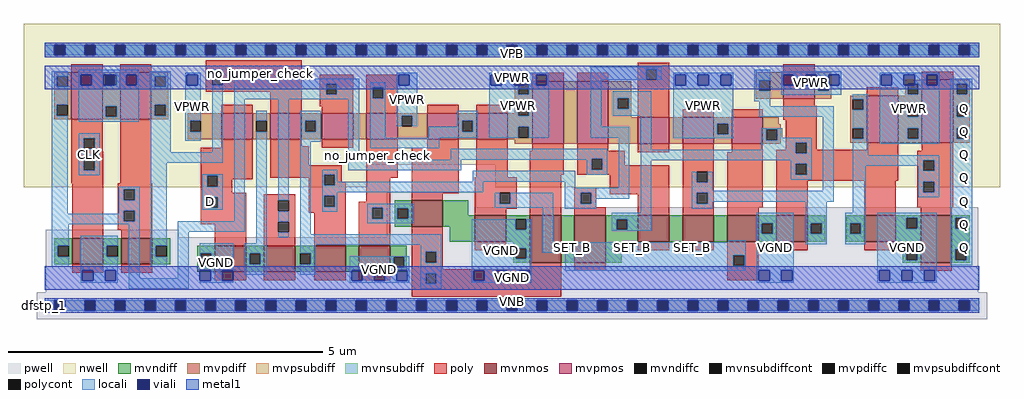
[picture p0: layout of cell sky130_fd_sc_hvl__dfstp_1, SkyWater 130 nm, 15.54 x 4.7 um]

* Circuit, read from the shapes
.subckt sky130_fd_sc_hvl__dfstp_1 CLK D SET_B VGND VNB VPB VPWR Q
XM1 VGND CLK n1 VNB sky130_fd_pr__nfet_g5v0d10v5 w=0.42 l=0.5
XM2 n2 n1 VGND VNB sky130_fd_pr__nfet_g5v0d10v5 w=0.42 l=0.5
XM3 n3 D VGND VNB sky130_fd_pr__nfet_g5v0d10v5 w=0.42 l=0.5
XM4 n4 n1 n3 VNB sky130_fd_pr__nfet_g5v0d10v5 w=0.42 l=0.5
XM5 n5 n2 n4 VNB sky130_fd_pr__nfet_g5v0d10v5 w=0.42 l=0.5
XM6 VGND n6 n5 VNB sky130_fd_pr__nfet_g5v0d10v5 w=0.42 l=0.5
XM7 n7 n4 n6 VNB sky130_fd_pr__nfet_g5v0d10v5 w=0.42 l=0.5
XM8 VGND SET_B n7 VNB sky130_fd_pr__nfet_g5v0d10v5 w=0.42 l=0.5
XM9 n8 n4 VGND VNB sky130_fd_pr__nfet_g5v0d10v5 w=0.75 l=0.5
XM10 n9 n2 n8 VNB sky130_fd_pr__nfet_g5v0d10v5 w=0.75 l=0.5
XM11 n10 n1 n9 VNB sky130_fd_pr__nfet_g5v0d10v5 w=0.42 l=0.5
XM12 n11 n12 n10 VNB sky130_fd_pr__nfet_g5v0d10v5 w=0.42 l=0.5
XM13 VGND SET_B n11 VNB sky130_fd_pr__nfet_g5v0d10v5 w=0.42 l=0.5
XM14 n12 n9 VGND VNB sky130_fd_pr__nfet_g5v0d10v5 w=0.42 l=0.5
XM15 VGND n9 n13 VNB sky130_fd_pr__nfet_g5v0d10v5 w=0.42 l=0.5
XM16 Q n13 VGND VNB sky130_fd_pr__nfet_g5v0d10v5 w=0.75 l=0.5
XM17 VPWR CLK n1 VPB sky130_fd_pr__pfet_g5v0d10v5 w=0.75 l=0.5
XM18 n2 n1 VPWR VPB sky130_fd_pr__pfet_g5v0d10v5 w=0.75 l=0.5
XM19 n3 D VPWR VPB sky130_fd_pr__pfet_g5v0d10v5 w=0.42 l=0.5
XM20 n4 n2 n3 VPB sky130_fd_pr__pfet_g5v0d10v5 w=0.42 l=0.5
XM21 n14 n1 n4 VPB sky130_fd_pr__pfet_g5v0d10v5 w=0.42 l=0.5
XM22 VPWR n6 n14 VPB sky130_fd_pr__pfet_g5v0d10v5 w=0.42 l=0.5
XM23 n6 n4 VPWR VPB sky130_fd_pr__pfet_g5v0d10v5 w=0.42 l=0.5
XM24 VPWR SET_B n6 VPB sky130_fd_pr__pfet_g5v0d10v5 w=0.42 l=0.5
XM25 n15 n4 VPWR VPB sky130_fd_pr__pfet_g5v0d10v5 w=1 l=0.5
XM26 n9 n1 n15 VPB sky130_fd_pr__pfet_g5v0d10v5 w=1 l=0.5
XM27 n16 n2 n9 VPB sky130_fd_pr__pfet_g5v0d10v5 w=0.42 l=0.5
XM28 VPWR n12 n16 VPB sky130_fd_pr__pfet_g5v0d10v5 w=0.42 l=0.5
XM29 n9 SET_B VPWR VPB sky130_fd_pr__pfet_g5v0d10v5 w=0.42 l=0.5
XM30 VPWR n9 n12 VPB sky130_fd_pr__pfet_g5v0d10v5 w=0.42 l=0.5
XM31 VPWR n9 n13 VPB sky130_fd_pr__pfet_g5v0d10v5 w=0.75 l=0.5
XM32 Q n13 VPWR VPB sky130_fd_pr__pfet_g5v0d10v5 w=1 l=0.5
.ends

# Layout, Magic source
magic
tech sky130A
magscale 1 2
<< nwell >>
rect -66 449 3042 897
rect -66 377 1029 449
rect 1434 377 3042 449
<< pwell >>
rect 1089 313 1374 361
rect 4 217 426 241
rect 1089 217 2972 313
rect 4 43 2972 217
rect -26 -43 3002 43
<< mvnmos >>
rect 87 131 187 215
rect 243 131 343 215
rect 1168 251 1268 335
rect 542 107 642 191
rect 698 107 798 191
rect 858 107 958 191
rect 1000 107 1100 191
rect 1370 203 1470 287
rect 1545 137 1645 287
rect 1687 137 1787 287
rect 1889 203 1989 287
rect 2031 203 2131 287
rect 2173 203 2273 287
rect 2329 203 2429 287
rect 2610 203 2710 287
rect 2789 137 2889 287
<< mvpmos >>
rect 84 593 184 743
rect 240 593 340 743
rect 562 529 662 613
rect 718 529 818 613
rect 882 529 982 613
rect 1024 529 1124 613
rect 1218 529 1318 613
rect 1374 529 1474 613
rect 1553 515 1653 715
rect 1695 515 1795 715
rect 2352 659 2452 743
rect 1889 515 1989 599
rect 2031 515 2131 599
rect 2187 515 2287 599
rect 2618 519 2718 669
rect 2793 519 2893 719
<< mvndiff >>
rect 30 190 87 215
rect 30 156 42 190
rect 76 156 87 190
rect 30 131 87 156
rect 187 190 243 215
rect 187 156 198 190
rect 232 156 243 190
rect 187 131 243 156
rect 343 190 400 215
rect 1115 310 1168 335
rect 1115 276 1123 310
rect 1157 276 1168 310
rect 1115 251 1168 276
rect 1268 287 1348 335
rect 1268 251 1370 287
rect 343 156 354 190
rect 388 156 400 190
rect 343 131 400 156
rect 485 166 542 191
rect 485 132 497 166
rect 531 132 542 166
rect 485 107 542 132
rect 642 166 698 191
rect 642 132 653 166
rect 687 132 698 166
rect 642 107 698 132
rect 798 166 858 191
rect 798 132 813 166
rect 847 132 858 166
rect 798 107 858 132
rect 958 107 1000 191
rect 1100 155 1153 191
rect 1100 121 1111 155
rect 1145 121 1153 155
rect 1100 107 1153 121
rect 1290 203 1370 251
rect 1470 275 1545 287
rect 1470 241 1500 275
rect 1534 241 1545 275
rect 1470 203 1545 241
rect 1492 183 1545 203
rect 1492 149 1500 183
rect 1534 149 1545 183
rect 1492 137 1545 149
rect 1645 137 1687 287
rect 1787 275 1889 287
rect 1787 241 1821 275
rect 1855 241 1889 275
rect 1787 203 1889 241
rect 1989 203 2031 287
rect 2131 203 2173 287
rect 2273 262 2329 287
rect 2273 228 2284 262
rect 2318 228 2329 262
rect 2273 203 2329 228
rect 2429 262 2486 287
rect 2429 228 2440 262
rect 2474 228 2486 262
rect 2429 203 2486 228
rect 2553 262 2610 287
rect 2553 228 2565 262
rect 2599 228 2610 262
rect 2553 203 2610 228
rect 2710 279 2789 287
rect 2710 245 2744 279
rect 2778 245 2789 279
rect 2710 203 2789 245
rect 1787 137 1837 203
rect 2732 179 2789 203
rect 2732 145 2744 179
rect 2778 145 2789 179
rect 2732 137 2789 145
rect 2889 279 2946 287
rect 2889 245 2900 279
rect 2934 245 2946 279
rect 2889 179 2946 245
rect 2889 145 2900 179
rect 2934 145 2946 179
rect 2889 137 2946 145
<< mvpdiff >>
rect 31 731 84 743
rect 31 697 39 731
rect 73 697 84 731
rect 31 639 84 697
rect 31 605 39 639
rect 73 605 84 639
rect 31 593 84 605
rect 184 735 240 743
rect 184 701 195 735
rect 229 701 240 735
rect 184 635 240 701
rect 184 601 195 635
rect 229 601 240 635
rect 184 593 240 601
rect 340 731 393 743
rect 340 697 351 731
rect 385 697 393 731
rect 340 639 393 697
rect 340 605 351 639
rect 385 605 393 639
rect 1496 707 1553 715
rect 1496 673 1508 707
rect 1542 673 1553 707
rect 1496 638 1553 673
rect 1496 613 1508 638
rect 340 593 393 605
rect 455 588 562 613
rect 455 554 463 588
rect 497 554 562 588
rect 455 529 562 554
rect 662 588 718 613
rect 662 554 673 588
rect 707 554 718 588
rect 662 529 718 554
rect 818 588 882 613
rect 818 554 829 588
rect 863 554 882 588
rect 818 529 882 554
rect 982 529 1024 613
rect 1124 605 1218 613
rect 1124 571 1137 605
rect 1171 571 1218 605
rect 1124 529 1218 571
rect 1318 588 1374 613
rect 1318 554 1329 588
rect 1363 554 1374 588
rect 1318 529 1374 554
rect 1474 604 1508 613
rect 1542 604 1553 638
rect 1474 569 1553 604
rect 1474 535 1508 569
rect 1542 535 1553 569
rect 1474 529 1553 535
rect 1496 515 1553 529
rect 1653 515 1695 715
rect 1795 661 1867 715
rect 1795 627 1825 661
rect 1859 627 1867 661
rect 1795 599 1867 627
rect 2264 718 2352 743
rect 2264 684 2276 718
rect 2310 684 2352 718
rect 2264 659 2352 684
rect 2452 718 2505 743
rect 2452 684 2463 718
rect 2497 684 2505 718
rect 2740 707 2793 719
rect 2452 659 2505 684
rect 2740 673 2748 707
rect 2782 673 2793 707
rect 2740 669 2793 673
rect 2565 657 2618 669
rect 1795 515 1889 599
rect 1989 515 2031 599
rect 2131 579 2187 599
rect 2131 545 2142 579
rect 2176 545 2187 579
rect 2131 515 2187 545
rect 2287 577 2337 599
rect 2287 561 2344 577
rect 2287 527 2298 561
rect 2332 527 2344 561
rect 2287 515 2344 527
rect 2565 623 2573 657
rect 2607 623 2618 657
rect 2565 565 2618 623
rect 2565 531 2573 565
rect 2607 531 2618 565
rect 2565 519 2618 531
rect 2718 636 2793 669
rect 2718 602 2748 636
rect 2782 602 2793 636
rect 2718 565 2793 602
rect 2718 531 2748 565
rect 2782 531 2793 565
rect 2718 519 2793 531
rect 2893 707 2946 719
rect 2893 673 2904 707
rect 2938 673 2946 707
rect 2893 636 2946 673
rect 2893 602 2904 636
rect 2938 602 2946 636
rect 2893 565 2946 602
rect 2893 531 2904 565
rect 2938 531 2946 565
rect 2893 519 2946 531
<< mvndiffc >>
rect 42 156 76 190
rect 198 156 232 190
rect 1123 276 1157 310
rect 354 156 388 190
rect 497 132 531 166
rect 653 132 687 166
rect 813 132 847 166
rect 1111 121 1145 155
rect 1500 241 1534 275
rect 1500 149 1534 183
rect 1821 241 1855 275
rect 2284 228 2318 262
rect 2440 228 2474 262
rect 2565 228 2599 262
rect 2744 245 2778 279
rect 2744 145 2778 179
rect 2900 245 2934 279
rect 2900 145 2934 179
<< mvpdiffc >>
rect 39 697 73 731
rect 39 605 73 639
rect 195 701 229 735
rect 195 601 229 635
rect 351 697 385 731
rect 351 605 385 639
rect 1508 673 1542 707
rect 463 554 497 588
rect 673 554 707 588
rect 829 554 863 588
rect 1137 571 1171 605
rect 1329 554 1363 588
rect 1508 604 1542 638
rect 1508 535 1542 569
rect 1825 627 1859 661
rect 2276 684 2310 718
rect 2463 684 2497 718
rect 2748 673 2782 707
rect 2142 545 2176 579
rect 2298 527 2332 561
rect 2573 623 2607 657
rect 2573 531 2607 565
rect 2748 602 2782 636
rect 2748 531 2782 565
rect 2904 673 2938 707
rect 2904 602 2938 636
rect 2904 531 2938 565
<< mvpsubdiff >>
rect 0 -17 31 17
rect 65 -17 127 17
rect 161 -17 223 17
rect 257 -17 319 17
rect 353 -17 415 17
rect 449 -17 511 17
rect 545 -17 607 17
rect 641 -17 703 17
rect 737 -17 799 17
rect 833 -17 895 17
rect 929 -17 991 17
rect 1025 -17 1087 17
rect 1121 -17 1183 17
rect 1217 -17 1279 17
rect 1313 -17 1375 17
rect 1409 -17 1471 17
rect 1505 -17 1567 17
rect 1601 -17 1663 17
rect 1697 -17 1759 17
rect 1793 -17 1855 17
rect 1889 -17 1951 17
rect 1985 -17 2047 17
rect 2081 -17 2143 17
rect 2177 -17 2239 17
rect 2273 -17 2335 17
rect 2369 -17 2431 17
rect 2465 -17 2527 17
rect 2561 -17 2623 17
rect 2657 -17 2719 17
rect 2753 -17 2815 17
rect 2849 -17 2911 17
rect 2945 -17 2976 17
<< mvnsubdiff >>
rect 0 797 31 831
rect 65 797 127 831
rect 161 797 223 831
rect 257 797 319 831
rect 353 797 415 831
rect 449 797 511 831
rect 545 797 607 831
rect 641 797 703 831
rect 737 797 799 831
rect 833 797 895 831
rect 929 797 991 831
rect 1025 797 1087 831
rect 1121 797 1183 831
rect 1217 797 1279 831
rect 1313 797 1375 831
rect 1409 797 1471 831
rect 1505 797 1567 831
rect 1601 797 1663 831
rect 1697 797 1759 831
rect 1793 797 1855 831
rect 1889 797 1951 831
rect 1985 797 2047 831
rect 2081 797 2143 831
rect 2177 797 2239 831
rect 2273 797 2335 831
rect 2369 797 2431 831
rect 2465 797 2527 831
rect 2561 797 2623 831
rect 2657 797 2719 831
rect 2753 797 2815 831
rect 2849 797 2911 831
rect 2945 797 2976 831
<< mvpsubdiffcont >>
rect 31 -17 65 17
rect 127 -17 161 17
rect 223 -17 257 17
rect 319 -17 353 17
rect 415 -17 449 17
rect 511 -17 545 17
rect 607 -17 641 17
rect 703 -17 737 17
rect 799 -17 833 17
rect 895 -17 929 17
rect 991 -17 1025 17
rect 1087 -17 1121 17
rect 1183 -17 1217 17
rect 1279 -17 1313 17
rect 1375 -17 1409 17
rect 1471 -17 1505 17
rect 1567 -17 1601 17
rect 1663 -17 1697 17
rect 1759 -17 1793 17
rect 1855 -17 1889 17
rect 1951 -17 1985 17
rect 2047 -17 2081 17
rect 2143 -17 2177 17
rect 2239 -17 2273 17
rect 2335 -17 2369 17
rect 2431 -17 2465 17
rect 2527 -17 2561 17
rect 2623 -17 2657 17
rect 2719 -17 2753 17
rect 2815 -17 2849 17
rect 2911 -17 2945 17
<< mvnsubdiffcont >>
rect 31 797 65 831
rect 127 797 161 831
rect 223 797 257 831
rect 319 797 353 831
rect 415 797 449 831
rect 511 797 545 831
rect 607 797 641 831
rect 703 797 737 831
rect 799 797 833 831
rect 895 797 929 831
rect 991 797 1025 831
rect 1087 797 1121 831
rect 1183 797 1217 831
rect 1279 797 1313 831
rect 1375 797 1409 831
rect 1471 797 1505 831
rect 1567 797 1601 831
rect 1663 797 1697 831
rect 1759 797 1793 831
rect 1855 797 1889 831
rect 1951 797 1985 831
rect 2047 797 2081 831
rect 2143 797 2177 831
rect 2239 797 2273 831
rect 2335 797 2369 831
rect 2431 797 2465 831
rect 2527 797 2561 831
rect 2623 797 2657 831
rect 2719 797 2753 831
rect 2815 797 2849 831
rect 2911 797 2945 831
<< poly >>
rect 84 743 184 769
rect 240 743 340 769
rect 513 735 818 781
rect 1889 753 1989 773
rect 513 701 533 735
rect 567 701 818 735
rect 513 681 818 701
rect 562 613 662 639
rect 718 613 818 681
rect 876 707 982 735
rect 876 673 896 707
rect 930 673 982 707
rect 876 635 982 673
rect 882 613 982 635
rect 1024 695 1124 735
rect 1553 715 1653 741
rect 1695 715 1795 741
rect 1889 719 1915 753
rect 1949 719 1989 753
rect 2352 743 2452 769
rect 1024 661 1044 695
rect 1078 661 1124 695
rect 1024 613 1124 661
rect 1218 613 1318 639
rect 1374 613 1474 639
rect 84 533 184 593
rect 84 499 125 533
rect 159 499 184 533
rect 84 490 184 499
rect 84 465 187 490
rect 84 431 125 465
rect 159 431 187 465
rect 84 390 187 431
rect 240 390 340 593
rect 562 503 662 529
rect 497 413 662 503
rect 87 215 187 390
rect 232 370 343 390
rect 232 336 252 370
rect 286 336 343 370
rect 232 302 343 336
rect 232 268 252 302
rect 286 268 343 302
rect 232 241 343 268
rect 497 379 517 413
rect 551 403 662 413
rect 718 507 818 529
rect 718 447 840 507
rect 882 503 982 529
rect 718 417 946 447
rect 718 407 890 417
rect 551 379 597 403
rect 497 359 597 379
rect 840 383 890 407
rect 924 395 946 417
rect 1024 407 1124 529
rect 1218 503 1318 529
rect 924 383 958 395
rect 497 345 642 359
rect 497 311 517 345
rect 551 311 642 345
rect 497 259 642 311
rect 243 215 343 241
rect 542 191 642 259
rect 698 335 798 355
rect 698 301 743 335
rect 777 301 798 335
rect 698 267 798 301
rect 840 349 958 383
rect 840 315 890 349
rect 924 315 958 349
rect 1024 331 1100 407
rect 1168 357 1318 503
rect 1374 409 1474 529
rect 1889 599 1989 719
rect 2793 719 2893 745
rect 2618 669 2718 695
rect 2352 637 2452 659
rect 2031 599 2131 625
rect 2187 599 2287 625
rect 2352 592 2459 637
rect 2359 519 2459 592
rect 1553 493 1653 515
rect 1545 417 1653 493
rect 1695 493 1795 515
rect 1695 467 1847 493
rect 1889 489 1989 515
rect 1695 433 1742 467
rect 1776 447 1847 467
rect 1776 433 1989 447
rect 1695 417 1989 433
rect 1370 359 1503 409
rect 1168 335 1268 357
rect 840 295 958 315
rect 698 233 743 267
rect 777 233 798 267
rect 698 191 798 233
rect 858 191 958 295
rect 1000 311 1100 331
rect 1000 277 1043 311
rect 1077 277 1100 311
rect 1000 191 1100 277
rect 1370 325 1449 359
rect 1483 325 1503 359
rect 1370 309 1503 325
rect 1370 287 1470 309
rect 1545 287 1645 417
rect 1687 359 1757 375
rect 1687 325 1707 359
rect 1741 325 1757 359
rect 1799 355 1989 417
rect 1687 313 1757 325
rect 1687 287 1787 313
rect 1889 287 1989 355
rect 2031 427 2131 515
rect 2187 489 2287 515
rect 2359 497 2392 519
rect 2031 393 2077 427
rect 2111 393 2131 427
rect 2031 359 2131 393
rect 2031 325 2077 359
rect 2111 325 2131 359
rect 2031 287 2131 325
rect 2173 313 2287 489
rect 2329 485 2392 497
rect 2426 497 2459 519
rect 2618 497 2718 519
rect 2426 485 2718 497
rect 2793 493 2893 519
rect 2329 451 2718 485
rect 2329 417 2392 451
rect 2426 417 2718 451
rect 2329 397 2718 417
rect 2778 463 2893 493
rect 2778 429 2798 463
rect 2832 429 2893 463
rect 2173 287 2273 313
rect 2329 287 2429 397
rect 2610 287 2710 397
rect 2778 395 2893 429
rect 2778 361 2798 395
rect 2832 361 2893 395
rect 2778 313 2893 361
rect 2789 287 2889 313
rect 87 105 187 131
rect 243 105 343 131
rect 1168 171 1268 251
rect 1370 177 1470 203
rect 1168 137 1213 171
rect 1247 137 1268 171
rect 1889 177 1989 203
rect 2031 177 2131 203
rect 2173 161 2273 203
rect 2329 177 2429 203
rect 2610 177 2710 203
rect 1168 115 1268 137
rect 1545 115 1645 137
rect 542 81 642 107
rect 698 81 798 107
rect 858 81 958 107
rect 1000 81 1100 107
rect 1168 103 1645 115
rect 1687 111 1787 137
rect 2173 127 2193 161
rect 2227 127 2273 161
rect 1168 69 1213 103
rect 1247 69 1645 103
rect 2173 81 2273 127
rect 2789 111 2889 137
rect 1168 28 1645 69
<< polycont >>
rect 533 701 567 735
rect 896 673 930 707
rect 1915 719 1949 753
rect 1044 661 1078 695
rect 125 499 159 533
rect 125 431 159 465
rect 252 336 286 370
rect 252 268 286 302
rect 517 379 551 413
rect 890 383 924 417
rect 517 311 551 345
rect 743 301 777 335
rect 890 315 924 349
rect 1742 433 1776 467
rect 743 233 777 267
rect 1043 277 1077 311
rect 1449 325 1483 359
rect 1707 325 1741 359
rect 2077 393 2111 427
rect 2077 325 2111 359
rect 2392 485 2426 519
rect 2392 417 2426 451
rect 2798 429 2832 463
rect 2798 361 2832 395
rect 1213 137 1247 171
rect 2193 127 2227 161
rect 1213 69 1247 103
<< locali >>
rect 0 797 31 831
rect 65 797 127 831
rect 161 797 223 831
rect 257 797 319 831
rect 353 797 415 831
rect 449 797 511 831
rect 545 797 607 831
rect 641 797 703 831
rect 737 797 799 831
rect 833 797 895 831
rect 929 797 991 831
rect 1025 797 1087 831
rect 1121 797 1183 831
rect 1217 797 1279 831
rect 1313 797 1375 831
rect 1409 797 1471 831
rect 1505 797 1567 831
rect 1601 797 1663 831
rect 1697 797 1759 831
rect 1793 797 1855 831
rect 1889 797 1951 831
rect 1985 797 2047 831
rect 2081 797 2143 831
rect 2177 797 2239 831
rect 2273 797 2335 831
rect 2369 797 2431 831
rect 2465 797 2527 831
rect 2561 797 2623 831
rect 2657 797 2719 831
rect 2753 797 2815 831
rect 2849 797 2911 831
rect 2945 797 2976 831
rect 1739 753 1965 761
rect 23 731 73 747
rect 23 697 39 731
rect 23 639 73 697
rect 23 605 39 639
rect 23 293 73 605
rect 109 735 299 751
rect 109 701 115 735
rect 149 701 187 735
rect 229 701 259 735
rect 293 701 299 735
rect 109 635 299 701
rect 109 601 195 635
rect 229 601 299 635
rect 109 585 299 601
rect 335 731 401 747
rect 335 697 351 731
rect 385 697 401 731
rect 335 639 401 697
rect 335 605 351 639
rect 385 605 401 639
rect 335 589 401 605
rect 109 533 175 549
rect 109 499 125 533
rect 159 499 175 533
rect 109 465 175 499
rect 109 431 125 465
rect 159 431 175 465
rect 109 415 175 431
rect 338 489 401 589
rect 447 735 497 741
rect 447 701 453 735
rect 487 701 497 735
rect 447 588 497 701
rect 447 554 463 588
rect 447 525 497 554
rect 533 735 567 751
rect 1121 735 1187 741
rect 533 489 567 701
rect 338 455 567 489
rect 603 707 1001 723
rect 603 673 896 707
rect 930 673 1001 707
rect 603 657 1001 673
rect 236 370 302 379
rect 236 336 252 370
rect 286 336 302 370
rect 236 302 302 336
rect 236 293 252 302
rect 23 268 252 293
rect 286 268 302 302
rect 23 259 302 268
rect 23 190 76 259
rect 23 156 42 190
rect 23 123 76 156
rect 114 190 232 223
rect 114 156 198 190
rect 114 113 232 156
rect 114 79 120 113
rect 154 79 192 113
rect 226 79 232 113
rect 114 73 232 79
rect 268 87 302 259
rect 338 190 388 455
rect 501 413 567 419
rect 501 379 517 413
rect 551 379 567 413
rect 501 345 567 379
rect 501 311 517 345
rect 551 311 567 345
rect 501 305 567 311
rect 603 269 637 657
rect 338 156 354 190
rect 338 123 388 156
rect 424 235 637 269
rect 673 588 707 621
rect 424 87 458 235
rect 673 199 707 554
rect 743 335 777 657
rect 743 267 777 301
rect 743 217 777 233
rect 813 588 879 621
rect 813 554 829 588
rect 863 554 879 588
rect 813 521 879 554
rect 813 227 847 521
rect 967 465 1001 657
rect 1037 695 1085 711
rect 1037 661 1044 695
rect 1078 661 1085 695
rect 1037 535 1085 661
rect 1121 701 1127 735
rect 1161 701 1187 735
rect 1121 605 1187 701
rect 1415 735 1605 741
rect 1415 701 1421 735
rect 1455 701 1493 735
rect 1527 707 1565 735
rect 1542 701 1565 707
rect 1599 701 1605 735
rect 1415 673 1508 701
rect 1542 673 1605 701
rect 1415 638 1605 673
rect 1121 571 1137 605
rect 1171 571 1187 605
rect 1313 588 1379 621
rect 1313 569 1329 588
rect 1223 554 1329 569
rect 1363 554 1379 588
rect 1223 535 1379 554
rect 1415 604 1508 638
rect 1542 604 1605 638
rect 1415 569 1605 604
rect 1415 535 1508 569
rect 1542 535 1605 569
rect 1739 719 1915 753
rect 1949 719 1965 753
rect 2002 735 2192 741
rect 1739 569 1773 719
rect 2002 701 2008 735
rect 2042 701 2080 735
rect 2114 701 2152 735
rect 2186 701 2192 735
rect 1809 661 1932 683
rect 1809 627 1825 661
rect 1859 627 1932 661
rect 1809 605 1932 627
rect 1739 535 1862 569
rect 1037 501 1257 535
rect 1293 467 1792 499
rect 1293 465 1742 467
rect 883 417 931 433
rect 967 431 1327 465
rect 1726 433 1742 465
rect 1776 433 1792 467
rect 883 383 890 417
rect 924 395 931 417
rect 1363 395 1690 429
rect 1726 417 1792 433
rect 924 383 1397 395
rect 883 361 1397 383
rect 1656 375 1690 395
rect 1828 375 1862 535
rect 883 349 931 361
rect 1656 359 1862 375
rect 883 315 890 349
rect 924 315 931 349
rect 1433 325 1449 359
rect 1483 325 1620 359
rect 883 299 931 315
rect 1027 311 1173 325
rect 1433 311 1620 325
rect 1027 277 1043 311
rect 1077 310 1173 311
rect 1077 277 1123 310
rect 1027 276 1123 277
rect 1157 276 1173 310
rect 1027 263 1173 276
rect 1360 241 1500 275
rect 1534 241 1550 275
rect 268 53 458 87
rect 494 166 601 199
rect 494 132 497 166
rect 531 132 601 166
rect 494 113 601 132
rect 528 79 566 113
rect 600 79 601 113
rect 637 166 707 199
rect 637 132 653 166
rect 687 132 707 166
rect 637 99 707 132
rect 813 193 1263 227
rect 813 166 863 193
rect 847 132 863 166
rect 1197 171 1263 193
rect 813 99 863 132
rect 971 155 1161 157
rect 971 121 1111 155
rect 1145 121 1161 155
rect 971 113 1161 121
rect 494 73 601 79
rect 971 79 977 113
rect 1011 79 1049 113
rect 1083 79 1121 113
rect 1155 79 1161 113
rect 971 73 1161 79
rect 1197 137 1213 171
rect 1247 137 1263 171
rect 1197 103 1263 137
rect 1197 69 1213 103
rect 1247 69 1263 103
rect 1360 183 1550 241
rect 1360 149 1500 183
rect 1534 149 1550 183
rect 1586 202 1620 311
rect 1656 325 1707 359
rect 1741 341 1862 359
rect 1898 497 1932 605
rect 2002 579 2192 701
rect 2260 718 2310 751
rect 2260 684 2276 718
rect 2260 651 2310 684
rect 2346 735 2536 747
rect 2346 701 2352 735
rect 2386 701 2424 735
rect 2458 718 2496 735
rect 2458 701 2463 718
rect 2530 701 2536 735
rect 2346 684 2463 701
rect 2497 684 2536 701
rect 2346 671 2536 684
rect 2659 735 2848 741
rect 2659 701 2664 735
rect 2698 701 2736 735
rect 2770 707 2808 735
rect 2782 701 2808 707
rect 2842 701 2848 735
rect 2659 673 2748 701
rect 2782 673 2848 701
rect 2276 635 2310 651
rect 2573 657 2623 673
rect 2276 601 2512 635
rect 2002 545 2142 579
rect 2176 545 2192 579
rect 2002 533 2192 545
rect 2282 561 2348 565
rect 2282 527 2298 561
rect 2332 535 2348 561
rect 2332 527 2442 535
rect 2282 519 2442 527
rect 2282 497 2392 519
rect 1898 485 2392 497
rect 2426 485 2442 519
rect 1898 463 2442 485
rect 1741 325 1757 341
rect 1656 309 1757 325
rect 1898 295 1932 463
rect 2376 451 2442 463
rect 2061 393 2077 427
rect 2111 393 2127 427
rect 2376 417 2392 451
rect 2426 417 2442 451
rect 2376 401 2442 417
rect 2061 365 2127 393
rect 2478 365 2512 601
rect 2061 359 2512 365
rect 2061 325 2077 359
rect 2111 331 2512 359
rect 2607 623 2623 657
rect 2573 565 2623 623
rect 2607 531 2623 565
rect 2573 479 2623 531
rect 2659 636 2848 673
rect 2659 602 2748 636
rect 2782 602 2848 636
rect 2659 565 2848 602
rect 2659 531 2748 565
rect 2782 531 2848 565
rect 2659 515 2848 531
rect 2884 707 2954 723
rect 2884 673 2904 707
rect 2938 673 2954 707
rect 2884 636 2954 673
rect 2884 602 2904 636
rect 2938 602 2954 636
rect 2884 565 2954 602
rect 2884 531 2904 565
rect 2938 531 2954 565
rect 2573 463 2848 479
rect 2573 445 2798 463
rect 2111 325 2127 331
rect 2061 309 2127 325
rect 1805 275 1932 295
rect 1805 241 1821 275
rect 1855 241 1932 275
rect 1805 238 1932 241
rect 2268 262 2386 295
rect 2268 228 2284 262
rect 2318 228 2386 262
rect 2177 202 2232 208
rect 1586 168 2232 202
rect 1360 113 1550 149
rect 1360 79 1366 113
rect 1400 79 1438 113
rect 1472 79 1510 113
rect 1544 79 1550 113
rect 1657 161 2232 168
rect 1657 127 2193 161
rect 2227 127 2232 161
rect 1657 111 2232 127
rect 2268 113 2386 228
rect 2424 262 2490 331
rect 2573 295 2615 445
rect 2782 429 2798 445
rect 2832 429 2848 463
rect 2782 395 2848 429
rect 2782 361 2798 395
rect 2832 361 2848 395
rect 2782 345 2848 361
rect 2424 228 2440 262
rect 2474 228 2490 262
rect 2424 195 2490 228
rect 2549 262 2615 295
rect 2549 228 2565 262
rect 2599 228 2615 262
rect 2549 195 2615 228
rect 2651 279 2841 295
rect 2651 245 2744 279
rect 2778 245 2841 279
rect 1360 73 1550 79
rect 2268 79 2274 113
rect 2308 79 2346 113
rect 2380 79 2386 113
rect 2268 73 2386 79
rect 2651 179 2841 245
rect 2651 145 2744 179
rect 2778 145 2841 179
rect 2651 113 2841 145
rect 2884 279 2954 531
rect 2884 245 2900 279
rect 2934 245 2954 279
rect 2884 179 2954 245
rect 2884 145 2900 179
rect 2934 145 2954 179
rect 2884 129 2954 145
rect 2651 79 2657 113
rect 2691 79 2729 113
rect 2763 79 2801 113
rect 2835 79 2841 113
rect 2651 73 2841 79
rect 1197 53 1263 69
rect 0 -17 31 17
rect 65 -17 127 17
rect 161 -17 223 17
rect 257 -17 319 17
rect 353 -17 415 17
rect 449 -17 511 17
rect 545 -17 607 17
rect 641 -17 703 17
rect 737 -17 799 17
rect 833 -17 895 17
rect 929 -17 991 17
rect 1025 -17 1087 17
rect 1121 -17 1183 17
rect 1217 -17 1279 17
rect 1313 -17 1375 17
rect 1409 -17 1471 17
rect 1505 -17 1567 17
rect 1601 -17 1663 17
rect 1697 -17 1759 17
rect 1793 -17 1855 17
rect 1889 -17 1951 17
rect 1985 -17 2047 17
rect 2081 -17 2143 17
rect 2177 -17 2239 17
rect 2273 -17 2335 17
rect 2369 -17 2431 17
rect 2465 -17 2527 17
rect 2561 -17 2623 17
rect 2657 -17 2719 17
rect 2753 -17 2815 17
rect 2849 -17 2911 17
rect 2945 -17 2976 17
<< viali >>
rect 31 797 65 831
rect 127 797 161 831
rect 223 797 257 831
rect 319 797 353 831
rect 415 797 449 831
rect 511 797 545 831
rect 607 797 641 831
rect 703 797 737 831
rect 799 797 833 831
rect 895 797 929 831
rect 991 797 1025 831
rect 1087 797 1121 831
rect 1183 797 1217 831
rect 1279 797 1313 831
rect 1375 797 1409 831
rect 1471 797 1505 831
rect 1567 797 1601 831
rect 1663 797 1697 831
rect 1759 797 1793 831
rect 1855 797 1889 831
rect 1951 797 1985 831
rect 2047 797 2081 831
rect 2143 797 2177 831
rect 2239 797 2273 831
rect 2335 797 2369 831
rect 2431 797 2465 831
rect 2527 797 2561 831
rect 2623 797 2657 831
rect 2719 797 2753 831
rect 2815 797 2849 831
rect 2911 797 2945 831
rect 115 701 149 735
rect 187 701 195 735
rect 195 701 221 735
rect 259 701 293 735
rect 453 701 487 735
rect 120 79 154 113
rect 192 79 226 113
rect 1127 701 1161 735
rect 1421 701 1455 735
rect 1493 707 1527 735
rect 1493 701 1508 707
rect 1508 701 1527 707
rect 1565 701 1599 735
rect 2008 701 2042 735
rect 2080 701 2114 735
rect 2152 701 2186 735
rect 494 79 528 113
rect 566 79 600 113
rect 977 79 1011 113
rect 1049 79 1083 113
rect 1121 79 1155 113
rect 2352 701 2386 735
rect 2424 701 2458 735
rect 2496 718 2530 735
rect 2496 701 2497 718
rect 2497 701 2530 718
rect 2664 701 2698 735
rect 2736 707 2770 735
rect 2736 701 2748 707
rect 2748 701 2770 707
rect 2808 701 2842 735
rect 1366 79 1400 113
rect 1438 79 1472 113
rect 1510 79 1544 113
rect 2274 79 2308 113
rect 2346 79 2380 113
rect 2657 79 2691 113
rect 2729 79 2763 113
rect 2801 79 2835 113
rect 31 -17 65 17
rect 127 -17 161 17
rect 223 -17 257 17
rect 319 -17 353 17
rect 415 -17 449 17
rect 511 -17 545 17
rect 607 -17 641 17
rect 703 -17 737 17
rect 799 -17 833 17
rect 895 -17 929 17
rect 991 -17 1025 17
rect 1087 -17 1121 17
rect 1183 -17 1217 17
rect 1279 -17 1313 17
rect 1375 -17 1409 17
rect 1471 -17 1505 17
rect 1567 -17 1601 17
rect 1663 -17 1697 17
rect 1759 -17 1793 17
rect 1855 -17 1889 17
rect 1951 -17 1985 17
rect 2047 -17 2081 17
rect 2143 -17 2177 17
rect 2239 -17 2273 17
rect 2335 -17 2369 17
rect 2431 -17 2465 17
rect 2527 -17 2561 17
rect 2623 -17 2657 17
rect 2719 -17 2753 17
rect 2815 -17 2849 17
rect 2911 -17 2945 17
<< metal1 >>
rect 0 831 2976 837
rect 0 797 31 831
rect 65 797 127 831
rect 161 797 223 831
rect 257 797 319 831
rect 353 797 415 831
rect 449 797 511 831
rect 545 797 607 831
rect 641 797 703 831
rect 737 797 799 831
rect 833 797 895 831
rect 929 797 991 831
rect 1025 797 1087 831
rect 1121 797 1183 831
rect 1217 797 1279 831
rect 1313 797 1375 831
rect 1409 797 1471 831
rect 1505 797 1567 831
rect 1601 797 1663 831
rect 1697 797 1759 831
rect 1793 797 1855 831
rect 1889 797 1951 831
rect 1985 797 2047 831
rect 2081 797 2143 831
rect 2177 797 2239 831
rect 2273 797 2335 831
rect 2369 797 2431 831
rect 2465 797 2527 831
rect 2561 797 2623 831
rect 2657 797 2719 831
rect 2753 797 2815 831
rect 2849 797 2911 831
rect 2945 797 2976 831
rect 0 791 2976 797
rect 0 735 2976 763
rect 0 701 115 735
rect 149 701 187 735
rect 221 701 259 735
rect 293 701 453 735
rect 487 701 1127 735
rect 1161 701 1421 735
rect 1455 701 1493 735
rect 1527 701 1565 735
rect 1599 701 2008 735
rect 2042 701 2080 735
rect 2114 701 2152 735
rect 2186 701 2352 735
rect 2386 701 2424 735
rect 2458 701 2496 735
rect 2530 701 2664 735
rect 2698 701 2736 735
rect 2770 701 2808 735
rect 2842 701 2976 735
rect 0 689 2976 701
rect 0 113 2976 125
rect 0 79 120 113
rect 154 79 192 113
rect 226 79 494 113
rect 528 79 566 113
rect 600 79 977 113
rect 1011 79 1049 113
rect 1083 79 1121 113
rect 1155 79 1366 113
rect 1400 79 1438 113
rect 1472 79 1510 113
rect 1544 79 2274 113
rect 2308 79 2346 113
rect 2380 79 2657 113
rect 2691 79 2729 113
rect 2763 79 2801 113
rect 2835 79 2976 113
rect 0 51 2976 79
rect 0 17 2976 23
rect 0 -17 31 17
rect 65 -17 127 17
rect 161 -17 223 17
rect 257 -17 319 17
rect 353 -17 415 17
rect 449 -17 511 17
rect 545 -17 607 17
rect 641 -17 703 17
rect 737 -17 799 17
rect 833 -17 895 17
rect 929 -17 991 17
rect 1025 -17 1087 17
rect 1121 -17 1183 17
rect 1217 -17 1279 17
rect 1313 -17 1375 17
rect 1409 -17 1471 17
rect 1505 -17 1567 17
rect 1601 -17 1663 17
rect 1697 -17 1759 17
rect 1793 -17 1855 17
rect 1889 -17 1951 17
rect 1985 -17 2047 17
rect 2081 -17 2143 17
rect 2177 -17 2239 17
rect 2273 -17 2335 17
rect 2369 -17 2431 17
rect 2465 -17 2527 17
rect 2561 -17 2623 17
rect 2657 -17 2719 17
rect 2753 -17 2815 17
rect 2849 -17 2911 17
rect 2945 -17 2976 17
rect 0 -23 2976 -17
<< labels >>
flabel comment s 1059 477 1059 477 0 FreeSans 200 90 0 0 no_jumper_check
flabel comment s 687 739 687 739 0 FreeSans 200 0 0 0 no_jumper_check
rlabel comment s 0 0 0 0 4 dfstp_1
flabel metal1 s 0 51 2976 125 0 FreeSans 340 0 0 0 VGND
port 4 nsew ground bidirectional
flabel metal1 s 0 0 2976 23 0 FreeSans 340 0 0 0 VNB
port 5 nsew ground bidirectional
flabel metal1 s 0 689 2976 763 0 FreeSans 340 0 0 0 VPWR
port 7 nsew power bidirectional
flabel metal1 s 0 791 2976 814 0 FreeSans 340 0 0 0 VPB
port 6 nsew power bidirectional
flabel locali s 1663 168 1697 202 0 FreeSans 340 0 0 0 SET_B
port 3 nsew signal input
flabel locali s 1759 168 1793 202 0 FreeSans 340 0 0 0 SET_B
port 3 nsew signal input
flabel locali s 1855 168 1889 202 0 FreeSans 340 0 0 0 SET_B
port 3 nsew signal input
flabel locali s 1951 168 1985 202 0 FreeSans 340 0 0 0 SET_B
port 3 nsew signal input
flabel locali s 2047 168 2081 202 0 FreeSans 340 0 0 0 SET_B
port 3 nsew signal input
flabel locali s 2143 168 2177 202 0 FreeSans 340 0 0 0 SET_B
port 3 nsew signal input
flabel locali s 511 316 545 350 0 FreeSans 340 0 0 0 D
port 2 nsew signal input
flabel locali s 127 464 161 498 0 FreeSans 340 0 0 0 CLK
port 1 nsew clock input
flabel locali s 2911 168 2945 202 0 FreeSans 340 0 0 0 Q
port 8 nsew signal output
flabel locali s 2911 242 2945 276 0 FreeSans 340 0 0 0 Q
port 8 nsew signal output
flabel locali s 2911 316 2945 350 0 FreeSans 340 0 0 0 Q
port 8 nsew signal output
flabel locali s 2911 390 2945 424 0 FreeSans 340 0 0 0 Q
port 8 nsew signal output
flabel locali s 2911 464 2945 498 0 FreeSans 340 0 0 0 Q
port 8 nsew signal output
flabel locali s 2911 538 2945 572 0 FreeSans 340 0 0 0 Q
port 8 nsew signal output
flabel locali s 2911 612 2945 646 0 FreeSans 340 0 0 0 Q
port 8 nsew signal output
rlabel locali s 2268 73 2386 295 1 VGND
port 4 nsew ground bidirectional
rlabel locali s 2651 73 2841 295 1 VGND
port 4 nsew ground bidirectional
rlabel locali s 494 73 601 199 1 VGND
port 4 nsew ground bidirectional
rlabel locali s 971 73 1161 157 1 VGND
port 4 nsew ground bidirectional
rlabel locali s 1360 73 1550 275 1 VGND
port 4 nsew ground bidirectional
rlabel metal1 s 0 51 2976 125 1 VGND
port 4 nsew ground bidirectional
rlabel metal1 s 0 -23 2976 23 1 VNB
port 5 nsew ground bidirectional
rlabel metal1 s 0 791 2976 837 1 VPB
port 6 nsew power bidirectional
rlabel locali s 2002 533 2192 741 1 VPWR
port 7 nsew power bidirectional
rlabel locali s 2346 671 2536 747 1 VPWR
port 7 nsew power bidirectional
rlabel locali s 2659 515 2848 741 1 VPWR
port 7 nsew power bidirectional
rlabel locali s 447 525 497 741 1 VPWR
port 7 nsew power bidirectional
rlabel locali s 1121 571 1187 741 1 VPWR
port 7 nsew power bidirectional
rlabel locali s 1415 535 1605 741 1 VPWR
port 7 nsew power bidirectional
rlabel metal1 s 0 689 2976 763 1 VPWR
port 7 nsew power bidirectional
<< properties >>
string FIXED_BBOX 0 0 2976 814
string GDS_END 918942
string GDS_FILE $PDKPATH/libs.ref/sky130_fd_sc_hvl/gds/sky130_fd_sc_hvl.gds
string GDS_START 889776
string LEFclass CORE
string LEFsite unithv
string LEFsymmetry X Y
<< end >>
